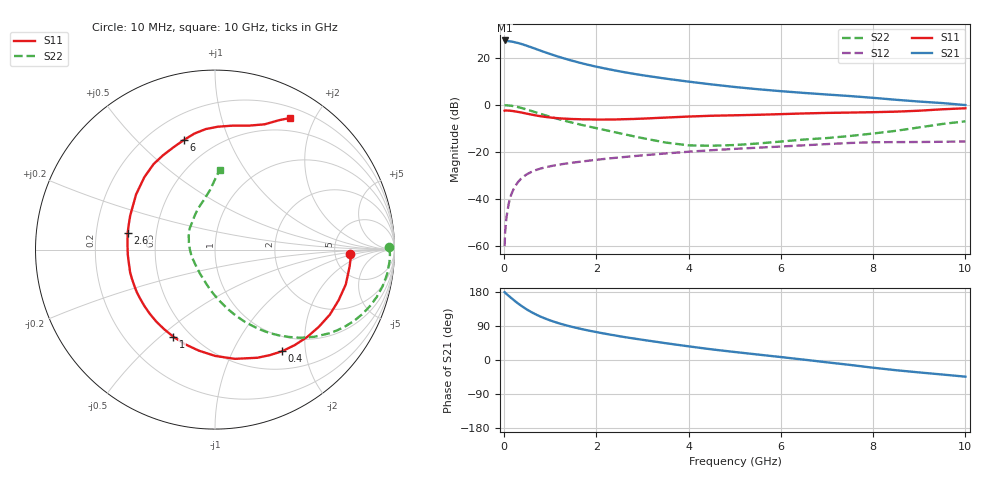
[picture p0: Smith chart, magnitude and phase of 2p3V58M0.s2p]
! (c) 2009  Infineon Technologies AG, Munich
! Infineon Technologies  Discrete & RF Semiconductors
! BFP420
! VCE =  3.5 V,  IC =  8.0 mA
! Common Emitter S-Parameters:  Nov 2009
# GHz  S  MA  R  50
!  f  S11  S21  S12  S22
! GHz  MAG  ANG  MAG  ANG  MAG  ANG  MAG  ANG
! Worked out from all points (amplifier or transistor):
!   46 points, 10 MHz to 10 GHz, reference 50 ohm
!   highest |S21| = 27.3 dB at 10 MHz (marker M1)
!   |S21| within 3 dB of that: start of sweep to 601.4 MHz
!   unconditionally stable (mu >= 1): 2.576 GHz to end of sweep
!   at 300 MHz: K = 0.18, MSG = 29.5 dB, |S12| = -32.8 dB
!   at 1.7 GHz: K = 0.74, MSG = 20.8 dB, |S12| = -24.0 dB
!   at 10 GHz: K = 1.10, MAG = 5.8 dB, |S12| = -15.6 dB
!   lowest NFmin = 0.79 dB at 900 MHz
!   S11 on the Smith chart (normalised r, x): 10 MHz: 6.98, -0.76; 400 MHz: 0.76, -1.59; 1 GHz: 0.41, -0.55; 2.6 GHz: 0.34, +0.08; 6 GHz: 0.34, +0.70; 10 GHz: 0.33, +1.68
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0.01  0.7521 -1.8  23.24 178.9  0.001 63.5  0.9694 0.7
0.02  0.7581 -2.9  22.61 177.6  0.0019 72.3  0.9751 -1.5
0.1  0.7541 -14.9  22.43 169.1  0.0081 78.9  0.9685 -8.2
0.2  0.7354 -29.5  21.65 159.0  0.0159 74.3  0.9392 -16.3
0.3  0.7077 -43.5  20.52 149.3  0.0229 68.5  0.8959 -23.7
0.4  0.6789 -56.5  19.21 140.7  0.0288 63.4  0.8442 -30.3
0.5  0.6472 -68.6  17.82 132.8  0.0339 58.9  0.7895 -36.2
0.6  0.6186 -79.7  16.47 125.7  0.0381 55.1  0.7361 -41.3
0.7  0.5924 -89.9  15.19 119.5  0.0417 51.9  0.6852 -45.8
0.8  0.5703 -99.0  13.99 113.9  0.0447 49.4  0.6385 -49.7
1  0.5381 -115.5  11.97 104.4  0.0497 45.5  0.5575 -56.6
1.3  0.5096 -135.6  9.659 93.0  0.0559 41.8  0.463 -64.8
1.7  0.4921 -156.4  7.564 81.1  0.063 38.7  0.3713 -74.0
2.2  0.4868 -176.7  5.865 69.1  0.0715 35.9  0.2895 -84.5
2.6  0.4952 169.4  4.939 60.7  0.078 33.8  0.2378 -93.9
3.5  0.5363 145.1  3.6 44.4  0.0928 28.8  0.1583 -121.7
4.5  0.5865 125.7  2.709 28.1  0.1088 22.2  0.1355 -163.4
5.5  0.6147 112.3  2.144 14.4  0.1231 15.6  0.1509 164.7
6  0.6347 105.9  1.949 7.8  0.1303 12.4  0.1663 151.5
7  0.6735 94.4  1.655 -6.1  0.1468 4.7  0.1972 130.6
8.5  0.7165 74.6  1.279 -27.0  0.1618 -10.5  0.2814 103.1
10  0.8455 60.2  0.989 -44.0  0.1669 -20.5  0.4467 86.5
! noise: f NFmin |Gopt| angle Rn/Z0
0.9  0.79  0.08  30  0.13
1.8  1.14  0.06  171  0.12
2.4  1.24  0.1  160  0.13
3  1.32  0.17  -165  0.12
4  1.46  0.32  -132  0.14
5  1.85  0.39  -110  0.25
6  2.3  0.46  -95  0.37
